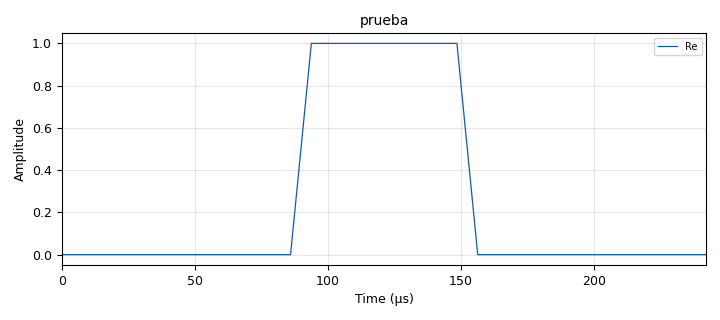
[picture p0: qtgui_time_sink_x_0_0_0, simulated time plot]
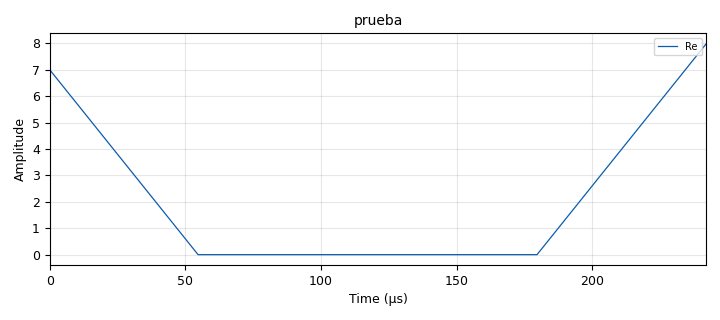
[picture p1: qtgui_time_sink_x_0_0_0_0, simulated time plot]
<?xml version='1.0' encoding='utf-8'?>
<?grc format='1' created='3.7.13'?>
<flow_graph>
<block>
<key>options</key>
<param><key>id</key><value>top_block</value></param>
<param><key>category</key><value>Custom</value></param>
<param><key>generate_options</key><value>qt_gui</value></param>
<param><key>run</key><value>run_stop</value></param>
</block>
<block>
<key>variable</key>
<param><key>id</key><value>N</value></param>
<param><key>value</key><value>32</value></param>
</block>
<block>
<key>variable_qtgui_range</key>
<param><key>id</key><value>retraso</value></param>
<param><key>value</key><value>0</value></param>
<param><key>gui_hint</key><value>0,1,1,1</value></param>
<param><key>label</key><value>retrasar senal</value></param>
<param><key>orient</key><value>Qt.Horizontal</value></param>
<param><key>start</key><value>0</value></param>
<param><key>step</key><value>1</value></param>
<param><key>stop</key><value>N</value></param>
<param><key>rangeType</key><value>int</value></param>
</block>
<block>
<key>variable_qtgui_check_box</key>
<param><key>id</key><value>run_stop</value></param>
<param><key>value</key><value>True</value></param>
<param><key>false</key><value>False</value></param>
<param><key>gui_hint</key><value>0,0,1,1</value></param>
<param><key>label</key><value>Inicial/Parar</value></param>
<param><key>true</key><value>True</value></param>
<param><key>type</key><value>int</value></param>
</block>
<block>
<key>variable</key>
<param><key>id</key><value>samp_rate</value></param>
<param><key>value</key><value>128000</value></param>
</block>
<block>
<key>blocks_delay</key>
<param><key>id</key><value>blocks_delay_0</value></param>
<param><key>delay</key><value>retraso</value></param>
<param><key>type</key><value>float</value></param>
</block>
<block>
<key>blocks_vector_source_x</key>
<param><key>id</key><value>blocks_vector_source_x_0_0</value></param>
<param><key>type</key><value>float</value></param>
<param><key>repeat</key><value>True</value></param>
<param><key>vector</key><value>e_signal.pulso_rect(N,int(N/4))</value></param>
</block>
<block>
<key>epy_module</key>
<param><key>id</key><value>e_signal</value></param>
<param><key>source_code</key><value>import numpy as np
####################################################################################################
##                                  pulso rectangular                                             ##
####################################################################################################
def pulso_rect(ntaps,n_ones):
	x=np.zeros(ntaps)                           # crea un vector de tamano ntaps lleno de ceros
	ntaps_m= int(ntaps/2)                       # el punto medio del vector
	ntaps_i= ntaps_m-int(n_ones/2)              # el punto de inicio para los unos
	x[ntaps_i:ntaps_i+n_ones:1]=np.ones(n_ones) #llenado de los unos
	return x

</value></param>
</block>
<block>
<key>interp_fir_filter_xxx</key>
<param><key>id</key><value>interp_fir_filter_xxx_0</value></param>
<param><key>interp</key><value>1</value></param>
<param><key>taps</key><value>e_signal.pulso_rect(N,int(N/4))</value></param>
<param><key>type</key><value>fff</value></param>
</block>
<block>
<key>qtgui_time_sink_x</key>
<param><key>id</key><value>qtgui_time_sink_x_0_0_0</value></param>
<param><key>autoscale</key><value>True</value></param>
<param><key>gui_hint</key><value>4,0,1,2</value></param>
<param><key>color1</key><value>"blue"</value></param>
<param><key>label1</key><value>Re</value></param>
<param><key>width1</key><value>3</value></param>
<param><key>name</key><value>"prueba"</value></param>
<param><key>size</key><value>N</value></param>
<param><key>srate</key><value>samp_rate</value></param>
<param><key>type</key><value>float</value></param>
</block>
<block>
<key>qtgui_time_sink_x</key>
<param><key>id</key><value>qtgui_time_sink_x_0_0_0_0</value></param>
<param><key>autoscale</key><value>True</value></param>
<param><key>gui_hint</key><value>5,0,1,2</value></param>
<param><key>color1</key><value>"blue"</value></param>
<param><key>label1</key><value>Re</value></param>
<param><key>width1</key><value>3</value></param>
<param><key>name</key><value>"prueba"</value></param>
<param><key>size</key><value>N</value></param>
<param><key>srate</key><value>samp_rate</value></param>
<param><key>type</key><value>float</value></param>
</block>
<block>
<key>virtual_sink</key>
<param><key>id</key><value>virtual_sink_0</value></param>
<param><key>stream_id</key><value>T2</value></param>
</block>
<block>
<key>virtual_sink</key>
<param><key>id</key><value>virtual_sink_0_0</value></param>
<param><key>stream_id</key><value>T1</value></param>
</block>
<block>
<key>virtual_source</key>
<param><key>id</key><value>virtual_source_0</value></param>
<param><key>stream_id</key><value>T2</value></param>
</block>
<block>
<key>virtual_source</key>
<param><key>id</key><value>virtual_source_0_0</value></param>
<param><key>stream_id</key><value>T1</value></param>
</block>
<connection><source_block_id>blocks_delay_0</source_block_id><sink_block_id>qtgui_time_sink_x_0_0_0_0</sink_block_id><source_key>0</source_key><sink_key>0</sink_key></connection>
<connection><source_block_id>blocks_vector_source_x_0_0</source_block_id><sink_block_id>interp_fir_filter_xxx_0</sink_block_id><source_key>0</source_key><sink_key>0</sink_key></connection>
<connection><source_block_id>blocks_vector_source_x_0_0</source_block_id><sink_block_id>virtual_sink_0_0</sink_block_id><source_key>0</source_key><sink_key>0</sink_key></connection>
<connection><source_block_id>interp_fir_filter_xxx_0</source_block_id><sink_block_id>virtual_sink_0</sink_block_id><source_key>0</source_key><sink_key>0</sink_key></connection>
<connection><source_block_id>virtual_source_0</source_block_id><sink_block_id>blocks_delay_0</sink_block_id><source_key>0</source_key><sink_key>0</sink_key></connection>
<connection><source_block_id>virtual_source_0_0</source_block_id><sink_block_id>qtgui_time_sink_x_0_0_0</sink_block_id><source_key>0</source_key><sink_key>0</sink_key></connection>
</flow_graph>
